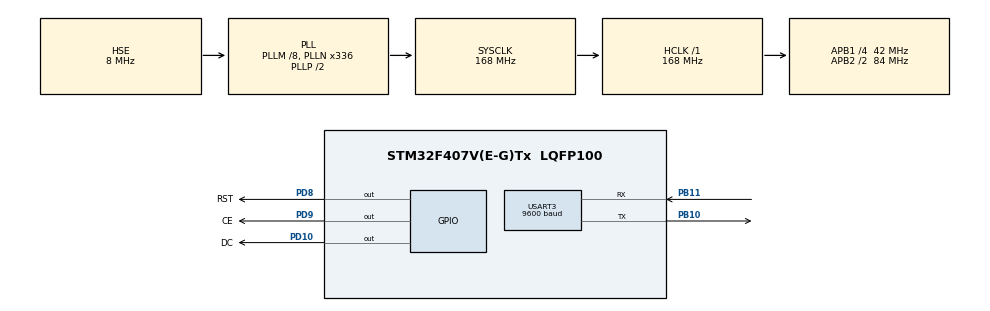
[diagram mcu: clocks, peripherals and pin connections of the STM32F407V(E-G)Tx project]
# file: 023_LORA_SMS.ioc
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Mcu.Family=STM32F4
Mcu.Name=STM32F407V(E-G)Tx
Mcu.Package=LQFP100
NVIC.PriorityGroup=NVIC_PRIORITYGROUP_0
NVIC.USART3_IRQn=true\:0\:0\:false\:false\:true\:true\:true\:true
PB10.Mode=Asynchronous
PB10.Signal=USART3_TX
PB11.Mode=Asynchronous
PB11.Signal=USART3_RX
PB13.Signal=SPI2_SCK
PB15.Signal=SPI2_MOSI
PD10.GPIO_Label=DC
PD10.Signal=GPIO_Output
PD8.GPIO_Label=RST
PD8.Signal=GPIO_Output
PD9.GPIO_Label=CE
PD9.Signal=GPIO_Output
PH0-OSC_IN.Mode=HSE-External-Oscillator
PH0-OSC_IN.Signal=RCC_OSC_IN
PH1-OSC_OUT.Mode=HSE-External-Oscillator
PH1-OSC_OUT.Signal=RCC_OSC_OUT
ProjectManager.HeapSize=0x200
ProjectManager.StackSize=0x400
ProjectManager.TargetToolchain=STM32CubeIDE
RCC.48MHZClocksFreq_Value=48000000
RCC.AHBFreq_Value=168000000
RCC.APB1CLKDivider=RCC_HCLK_DIV4
RCC.APB1Freq_Value=42000000
RCC.APB1TimFreq_Value=84000000
RCC.APB2CLKDivider=RCC_HCLK_DIV2
RCC.APB2Freq_Value=84000000
RCC.APB2TimFreq_Value=168000000
RCC.CortexFreq_Value=168000000
RCC.HCLKFreq_Value=168000000
RCC.HSE_VALUE=8000000
RCC.HSI_VALUE=16000000
RCC.LSE_VALUE=32768
RCC.PLLM=8
RCC.PLLN=336
RCC.PLLQ=7
RCC.PLLSourceVirtual=RCC_PLLSOURCE_HSE
RCC.SYSCLKFreq_VALUE=168000000
RCC.SYSCLKSource=RCC_SYSCLKSOURCE_PLLCLK
RCC.VCOOutputFreq_Value=336000000
USART3.BaudRate=9600
USART3.VirtualMode=VM_ASYNC
board=STM32F407G-DISC1

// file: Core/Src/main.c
/* USER CODE BEGIN Header */
/**
  ******************************************************************************
  * @file           : main.c
  * @brief          : Main program body
  ******************************************************************************
  * @attention
  *
  * Copyright (c) 2023 STMicroelectronics.
  * All rights reserved.
  *
  * This software is licensed under terms that can be found in the LICENSE file
  * in the root directory of this software component.
  * If no LICENSE file comes with this software, it is provided AS-IS.
  *
  ******************************************************************************
  */
/* USER CODE END Header */
#include "main.h"

UART_HandleTypeDef huart3;

/* USER CODE BEGIN PV */
char Rx_Byte[256];
char Tx_Byte[256];

/* USER CODE END PV */

void SystemClock_Config(void);
static void MX_GPIO_Init(void);
static void MX_USART3_UART_Init(void);

/* USER CODE BEGIN 0 */
#define BUFFER_SIZE 256

typedef struct UART_Buffer_Type
{
	uint32_t buffer[BUFFER_SIZE];
	uint32_t head_pointer;
	uint32_t tail_pointer;
}UART_Buffer_t;

volatile UART_Buffer_t UART_BufferRX;
volatile UART_Buffer_t UART_BufferTX;

static int32_t UART_is_buffer_empty(volatile UART_Buffer_t* buffer);
static void UART_Error_Handler(void);
/* USER CODE END 0 */

int main(void)
{

  /* MCU Configuration--------------------------------------------------------*/

  /* Reset of all peripherals, Initializes the Flash interface and the Systick. */
  HAL_Init();

  /* Configure the system clock */
  SystemClock_Config();

  /* Initialize all configured peripherals */
  MX_GPIO_Init();
  MX_USART3_UART_Init();
  /* USER CODE BEGIN 2 */
  HAL_UART_Receive_IT(&huart3,(uint8_t*) Rx_Byte, 1);

  /* USER CODE END 2 */

  /* Infinite loop */
  while (1)
  {

    /* USER CODE BEGIN 3 */
	  UART_send_byte("ferhat");

  }
  /* USER CODE END 3 */
}

void SystemClock_Config(void)
{
  RCC_OscInitTypeDef RCC_OscInitStruct = {0};
  RCC_ClkInitTypeDef RCC_ClkInitStruct = {0};

  /** Configure the main internal regulator output voltage
  */
  __HAL_RCC_PWR_CLK_ENABLE();
  __HAL_PWR_VOLTAGESCALING_CONFIG(PWR_REGULATOR_VOLTAGE_SCALE1);

  /** Initializes the RCC Oscillators according to the specified parameters
  * in the RCC_OscInitTypeDef structure.
  */
  RCC_OscInitStruct.OscillatorType = RCC_OSCILLATORTYPE_HSE;
  RCC_OscInitStruct.HSEState = RCC_HSE_ON;
  RCC_OscInitStruct.PLL.PLLState = RCC_PLL_ON;
  RCC_OscInitStruct.PLL.PLLSource = RCC_PLLSOURCE_HSE;
  RCC_OscInitStruct.PLL.PLLM = 8;
  RCC_OscInitStruct.PLL.PLLN = 336;
  RCC_OscInitStruct.PLL.PLLP = RCC_PLLP_DIV2;
  RCC_OscInitStruct.PLL.PLLQ = 7;
  if (HAL_RCC_OscConfig(&RCC_OscInitStruct) != HAL_OK)
  {
    Error_Handler();
  }

  /** Initializes the CPU, AHB and APB buses clocks
  */
  RCC_ClkInitStruct.ClockType = RCC_CLOCKTYPE_HCLK|RCC_CLOCKTYPE_SYSCLK
                              |RCC_CLOCKTYPE_PCLK1|RCC_CLOCKTYPE_PCLK2;
  RCC_ClkInitStruct.SYSCLKSource = RCC_SYSCLKSOURCE_PLLCLK;
  RCC_ClkInitStruct.AHBCLKDivider = RCC_SYSCLK_DIV1;
  RCC_ClkInitStruct.APB1CLKDivider = RCC_HCLK_DIV4;
  RCC_ClkInitStruct.APB2CLKDivider = RCC_HCLK_DIV2;

  if (HAL_RCC_ClockConfig(&RCC_ClkInitStruct, FLASH_LATENCY_5) != HAL_OK)
  {
    Error_Handler();
  }
}

static void MX_USART3_UART_Init(void)
{

  huart3.Instance = USART3;
  huart3.Init.BaudRate = 9600;
  huart3.Init.WordLength = UART_WORDLENGTH_8B;
  huart3.Init.StopBits = UART_STOPBITS_1;
  huart3.Init.Parity = UART_PARITY_NONE;
  huart3.Init.Mode = UART_MODE_TX_RX;
  huart3.Init.HwFlowCtl = UART_HWCONTROL_NONE;
  huart3.Init.OverSampling = UART_OVERSAMPLING_16;
  if (HAL_UART_Init(&huart3) != HAL_OK)
  {
    Error_Handler();
  }

}

static void MX_GPIO_Init(void)
{
  GPIO_InitTypeDef GPIO_InitStruct = {0};

  /* GPIO Ports Clock Enable */
  __HAL_RCC_GPIOH_CLK_ENABLE();
  __HAL_RCC_GPIOB_CLK_ENABLE();
  __HAL_RCC_GPIOD_CLK_ENABLE();

  /*Configure GPIO pin Output Level */
  HAL_GPIO_WritePin(GPIOD, RST_Pin|CE_Pin|DC_Pin, GPIO_PIN_RESET);

  /*Configure GPIO pins : PB13 PB15 */
  GPIO_InitStruct.Pin = GPIO_PIN_13|GPIO_PIN_15;
  GPIO_InitStruct.Mode = GPIO_MODE_AF_PP;
  GPIO_InitStruct.Pull = GPIO_NOPULL;
  GPIO_InitStruct.Speed = GPIO_SPEED_FREQ_VERY_HIGH;
  GPIO_InitStruct.Alternate = GPIO_AF5_SPI2;
  HAL_GPIO_Init(GPIOB, &GPIO_InitStruct);

  /*Configure GPIO pins : RST_Pin CE_Pin DC_Pin */
  GPIO_InitStruct.Pin = RST_Pin|CE_Pin|DC_Pin;
  GPIO_InitStruct.Mode = GPIO_MODE_OUTPUT_PP;
  GPIO_InitStruct.Pull = GPIO_NOPULL;
  GPIO_InitStruct.Speed = GPIO_SPEED_FREQ_LOW;
  HAL_GPIO_Init(GPIOD, &GPIO_InitStruct);

}

/* USER CODE BEGIN 4 */

void HAL_UART_RxCpltCallback(UART_HandleTypeDef *huart)
{
	  if(HAL_OK == HAL_UART_Receive_IT(&huart3, (uint8_t*) Rx_Byte, 1))
	  {
		  UART_BufferRX.buffer[UART_BufferRX.head_pointer] = HAL_UART_Receive_IT(&huart3, (uint8_t*) Rx_Byte, 1);

		  UART_BufferRX.head_pointer = UART_BufferRX.head_pointer + 1;
		  if(UART_BufferRX.head_pointer == BUFFER_SIZE)
		  {
			  UART_BufferRX.head_pointer = 0;
		  }

	  }

	  if(HAL_OK == HAL_UART_Transmit_IT(&huart3, (uint8_t*) Tx_Byte, 1))
	  {
		  if(UART_BufferTX.head_pointer != UART_BufferTX.tail_pointer)
		  		{
		  			// Send one byte from Transmit buffer
		  			 HAL_UART_Transmit_IT(&huart3, (uint8_t*) UART_BufferTX.buffer[UART_BufferTX.tail_pointer++], 1);

		  			if(UART_BufferTX.tail_pointer == BUFFER_SIZE)
		  			{
		  				UART_BufferTX.tail_pointer = 0;
		  			}
		  		}
		  		else
		  		{

		  			CLEAR_BIT(USART2->CR1, USART_CR1_TXEIE);
		  		}
	  }

}

void UART_send_byte(uint8_t data)
{
	UART_BufferTX.buffer[UART_BufferTX.head_pointer++] = data;
	if(UART_BufferTX.head_pointer == BUFFER_SIZE)
	{
		UART_BufferTX.head_pointer = 0;
	}
  /* Enable the UART Transmit Data Register Empty Interrupt */
 SET_BIT(USART2->CR1, USART_CR1_TXEIE);
}

/* USER CODE END 4 */

void Error_Handler(void)
{
  __disable_irq();
  while (1)
  {
  }
}
